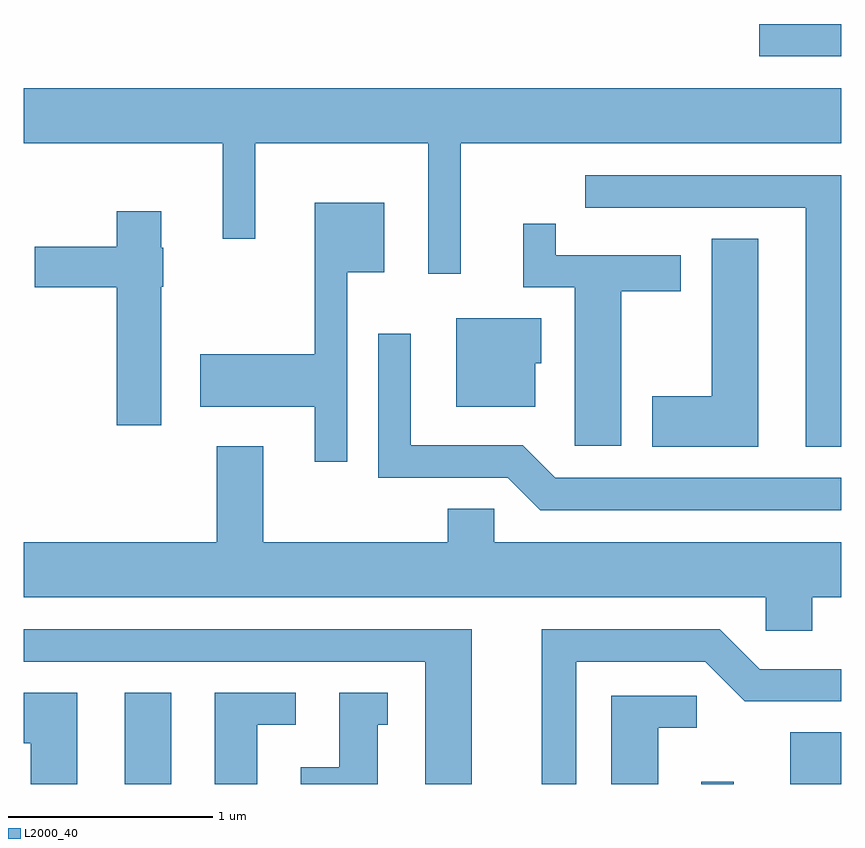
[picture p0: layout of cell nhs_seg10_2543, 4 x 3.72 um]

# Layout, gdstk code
import gdstk
lib = gdstk.Library(unit=1e-6, precision=1e-09)
def R(c, l, rs):  # rectangles x0, y0, x1, y1
    for r in rs: c.add(gdstk.rectangle(r[:2], r[2:], *l))
def P(c, l, *ps):  # polygons
    for p in ps: c.add(gdstk.Polygon(p, *l))
L2000_40 = (2000, 40)

nhs_seg10_2543 = lib.new_cell('nhs_seg10_2543')
R(nhs_seg10_2543, L2000_40, [(260.106,2148.522,260.334,2148.969), (262.926,2148.522,263.084,2148.533), (263.361,2148.522,263.611,2148.774), (263.208,2152.081,263.611,2152.239)])
P(nhs_seg10_2543, L2000_40, [(261.749,2151.656),(263.611,2151.656),(263.611,2151.924),(259.611,2151.924),(259.611,2151.656),(260.586,2151.656),(260.586,2151.188),(260.744,2151.188),(260.744,2151.656),(261.591,2151.656),(261.591,2151.018),(261.749,2151.018)],
  [(263.611,2151.499),(262.358,2151.499),(262.358,2151.341),(263.436,2151.341),(263.436,2150.171),(263.611,2150.171)],
  [(261.194,2151.026),(261.374,2151.026),(261.374,2151.364),(261.036,2151.364),(261.036,2150.624),(260.476,2150.624),(260.476,2150.366),(261.036,2150.366),(261.036,2150.098),(261.194,2150.098)],
  [(260.284,2150.955),(260.294,2150.955),(260.294,2151.145),(260.284,2151.145),(260.284,2151.324),(260.066,2151.324),(260.066,2151.149),(259.666,2151.149),(259.666,2150.951),(260.066,2150.951),(260.066,2150.276),(260.284,2150.276)],
  [(262.534,2150.931),(262.824,2150.931),(262.824,2151.109),(262.214,2151.109),(262.214,2151.263),(262.056,2151.263),(262.056,2150.951),(262.306,2150.951),(262.306,2150.176),(262.534,2150.176)],
  [(263.204,2151.189),(262.976,2151.189),(262.976,2150.419),(262.686,2150.419),(262.686,2150.171),(263.204,2150.171)],
  [(262.114,2150.581),(262.144,2150.581),(262.144,2150.799),(261.726,2150.799),(261.726,2150.366),(262.114,2150.366)],
  [(263.611,2150.019),(262.212,2150.019),(262.052,2150.179),(261.504,2150.179),(261.504,2150.723),(261.346,2150.723),(261.346,2150.021),(261.979,2150.021),(262.139,2149.861),(263.611,2149.861)],
  [(263.469,2149.436),(263.611,2149.436),(263.611,2149.704),(261.914,2149.704),(261.914,2149.869),(261.686,2149.869),(261.686,2149.704),(260.784,2149.704),(260.784,2150.174),(260.556,2150.174),(260.556,2149.704),(259.611,2149.704),(259.611,2149.436),(263.241,2149.436),(263.241,2149.271),(263.469,2149.271)],
  [(262.314,2149.121),(262.944,2149.121),(263.139,2148.926),(263.611,2148.926),(263.611,2149.084),(263.212,2149.084),(263.017,2149.279),(262.146,2149.279),(262.146,2148.522),(262.314,2148.522)],
  [(261.804,2149.279),(259.611,2149.279),(259.611,2149.121),(261.576,2149.121),(261.576,2148.522),(261.804,2148.522)],
  [(261.344,2148.811),(261.392,2148.811),(261.392,2148.969),(261.156,2148.969),(261.156,2148.604),(260.966,2148.604),(260.966,2148.522),(261.344,2148.522)],
  [(260.754,2148.811),(260.943,2148.811),(260.943,2148.969),(260.546,2148.969),(260.546,2148.522),(260.754,2148.522)],
  [(259.874,2148.969),(259.611,2148.969),(259.611,2148.721),(259.646,2148.721),(259.646,2148.522),(259.874,2148.522)],
  [(262.714,2148.796),(262.903,2148.796),(262.903,2148.954),(262.486,2148.954),(262.486,2148.522),(262.714,2148.522)])

lib.write_gds('nhs_seg10_2543.gds')
